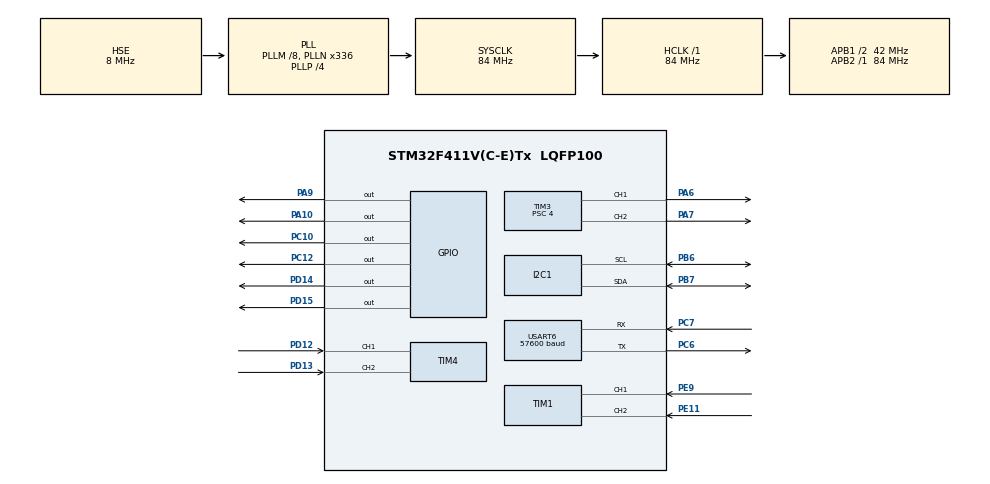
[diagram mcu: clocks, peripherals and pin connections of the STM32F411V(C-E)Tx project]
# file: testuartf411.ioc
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Dma.Request0=USART6_RX
Dma.Request1=USART6_TX
Dma.USART6_RX.0.Direction=DMA_PERIPH_TO_MEMORY
Dma.USART6_RX.0.FIFOMode=DMA_FIFOMODE_DISABLE
Dma.USART6_RX.0.Instance=DMA2_Stream1
Dma.USART6_RX.0.MemDataAlignment=DMA_MDATAALIGN_BYTE
Dma.USART6_RX.0.MemInc=DMA_MINC_ENABLE
Dma.USART6_RX.0.Mode=DMA_CIRCULAR
Dma.USART6_RX.0.PeriphDataAlignment=DMA_PDATAALIGN_BYTE
Dma.USART6_RX.0.PeriphInc=DMA_PINC_DISABLE
Dma.USART6_RX.0.Priority=DMA_PRIORITY_LOW
Dma.USART6_TX.1.Direction=DMA_MEMORY_TO_PERIPH
Dma.USART6_TX.1.FIFOMode=DMA_FIFOMODE_DISABLE
Dma.USART6_TX.1.Instance=DMA2_Stream6
Dma.USART6_TX.1.MemDataAlignment=DMA_MDATAALIGN_BYTE
Dma.USART6_TX.1.MemInc=DMA_MINC_ENABLE
Dma.USART6_TX.1.Mode=DMA_NORMAL
Dma.USART6_TX.1.PeriphDataAlignment=DMA_PDATAALIGN_BYTE
Dma.USART6_TX.1.PeriphInc=DMA_PINC_DISABLE
Dma.USART6_TX.1.Priority=DMA_PRIORITY_LOW
I2C1.I2C_Mode=I2C_Fast
Mcu.Family=STM32F4
Mcu.Name=STM32F411V(C-E)Tx
Mcu.Package=LQFP100
NVIC.DMA2_Stream1_IRQn=true\:0\:0\:false\:false\:true\:false\:true\:true
NVIC.DMA2_Stream6_IRQn=true\:0\:0\:false\:false\:true\:false\:true\:true
NVIC.PriorityGroup=NVIC_PRIORITYGROUP_4
NVIC.TIM2_IRQn=true\:1\:0\:true\:false\:true\:true\:true\:true
NVIC.USART6_IRQn=true\:0\:0\:false\:false\:true\:true\:true\:true
PA10.Signal=GPIO_Output
PA13.Mode=Serial_Wire
PA13.Signal=SYS_JTMS-SWDIO
PA14.Mode=Serial_Wire
PA14.Signal=SYS_JTCK-SWCLK
PA6.Signal=S_TIM3_CH1
PA7.Signal=S_TIM3_CH2
PA9.Signal=GPIO_Output
PB6.GPIO_Pu=GPIO_PULLUP
PB6.Mode=I2C
PB6.Signal=I2C1_SCL
PB7.GPIO_Pu=GPIO_PULLUP
PB7.Mode=I2C
PB7.Signal=I2C1_SDA
PC10.Signal=GPIO_Output
PC12.Signal=GPIO_Output
PC6.Mode=Asynchronous
PC6.Signal=USART6_TX
PC7.Mode=Asynchronous
PC7.Signal=USART6_RX
PD12.Signal=S_TIM4_CH1
PD13.Signal=S_TIM4_CH2
PD14.Signal=GPIO_Output
PD15.Signal=GPIO_Output
PE11.Signal=S_TIM1_CH2
PE9.Signal=S_TIM1_CH1
PH0\ -\ OSC_IN.Mode=HSE-External-Oscillator
PH0\ -\ OSC_IN.Signal=RCC_OSC_IN
PH1\ -\ OSC_OUT.Mode=HSE-External-Oscillator
PH1\ -\ OSC_OUT.Signal=RCC_OSC_OUT
ProjectManager.HeapSize=0x200
ProjectManager.StackSize=0x400
ProjectManager.TargetToolchain=STM32CubeIDE
RCC.48MHZClocksFreq_Value=84000000
RCC.AHBFreq_Value=84000000
RCC.APB1CLKDivider=RCC_HCLK_DIV2
RCC.APB1Freq_Value=42000000
RCC.APB1TimFreq_Value=84000000
RCC.APB2Freq_Value=84000000
RCC.APB2TimFreq_Value=84000000
RCC.CortexFreq_Value=84000000
RCC.HCLKFreq_Value=84000000
RCC.HSE_VALUE=8000000
RCC.HSI_VALUE=16000000
RCC.LSE_VALUE=32768
RCC.PLLM=8
RCC.PLLN=336
RCC.PLLP=RCC_PLLP_DIV4
RCC.PLLSourceVirtual=RCC_PLLSOURCE_HSE
RCC.SYSCLKFreq_VALUE=84000000
RCC.SYSCLKSource=RCC_SYSCLKSOURCE_PLLCLK
RCC.VCOOutputFreq_Value=336000000
SH.S_TIM1_CH1.0=TIM1_CH1,Encoder_Interface
SH.S_TIM1_CH2.0=TIM1_CH2,Encoder_Interface
SH.S_TIM3_CH1.0=TIM3_CH1,PWM Generation1 CH1
SH.S_TIM3_CH2.0=TIM3_CH2,PWM Generation2 CH2
SH.S_TIM4_CH1.0=TIM4_CH1,Encoder_Interface
SH.S_TIM4_CH2.0=TIM4_CH2,Encoder_Interface
TIM1.EncoderMode=TIM_ENCODERMODE_TI12
TIM2.Period=499
TIM2.Prescaler=8399
TIM3.Channel-PWM\ Generation1\ CH1=TIM_CHANNEL_1
TIM3.Channel-PWM\ Generation2\ CH2=TIM_CHANNEL_2
TIM3.Period=839
TIM3.Prescaler=4
TIM4.EncoderMode=TIM_ENCODERMODE_TI12
USART6.BaudRate=57600
USART6.VirtualMode=VM_ASYNC
VP_TIM2_VS_ClockSourceINT.Mode=Internal
board=custom

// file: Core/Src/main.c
/* USER CODE BEGIN Header */
/**
  ******************************************************************************
  * @file           : main.c
  * @brief          : Main program body
  ******************************************************************************
  * @attention
  *
  * Copyright (c) 2024 STMicroelectronics.
  * All rights reserved.
  *
  * This software is licensed under terms that can be found in the LICENSE file
  * in the root directory of this software component.
  * If no LICENSE file comes with this software, it is provided AS-IS.
  *
  ******************************************************************************
  */
/* USER CODE END Header */
#include "main.h"

/* USER CODE BEGIN Includes */
#include "mainpp.h"
#include "data_struct.h"
#include "imu_data_struct.h"
//#include "structor.h"
#include <math.h>
#include "stm32f4xx_hal.h"
#include "defines.h"
#include "tm_stm32_mpu6050.h"
#include <stdio.h>
/* USER CODE END Includes */

I2C_HandleTypeDef hi2c1;

TIM_HandleTypeDef htim1;
TIM_HandleTypeDef htim2;
TIM_HandleTypeDef htim3;
TIM_HandleTypeDef htim4;

UART_HandleTypeDef huart6;
DMA_HandleTypeDef hdma_usart6_rx;
DMA_HandleTypeDef hdma_usart6_tx;

/* USER CODE BEGIN PV */

	float angle_z;
	float angle_x;
	float angle_y;
	const float RADIANS_TO_DEGREES = 57.2958; //180/3.14159

    volatile int16_t Accel_X_RAW, Accel_Y_RAW, Accel_Z_RAW, Gyro_X_RAW, Gyro_Y_RAW, Gyro_Z_RAW;
	volatile float Ax, Ay, Az, Gx, Gy,Gz;
	// rotation angle of the sensor
	unsigned long last_read_time;
	float         last_x_angle;  // These are the filtered angles
	float         last_y_angle;
	float         last_z_angle;
	float         last_gyro_x_angle;  // Store the gyro angles to compare drift
	float         last_gyro_y_angle;
	float         last_gyro_z_angle;

	float    	  base_x_gyro = 0;
	float         base_y_gyro = 0;
	float         base_z_gyro = 0;
	float         base_x_accel = 0;
	float         base_y_accel = 0;
	float         base_z_accel = 0;
    float         gyro_angle_z=0;

	// This global variable tells us how to scale gyroscope data
	float    GYRO_FACTOR=0;

	unsigned long t_now=0,t_last=0;
	float dt=0;
/* USER CODE END PV */

void SystemClock_Config(void);
static void MX_GPIO_Init(void);
static void MX_DMA_Init(void);
static void MX_USART6_UART_Init(void);
static void MX_I2C1_Init(void);
static void MX_TIM1_Init(void);
static void MX_TIM2_Init(void);
static void MX_TIM3_Init(void);
static void MX_TIM4_Init(void);
/* USER CODE BEGIN PFP */

//Right
float PPR1 = 1675;//=920x4/ 1070;pulse per revolution
const float Ts = 0.05;
float encoder_cnt1=0, pre_enc1=0;
float delta_enc1 = 0;

float vR_set=0,vR_set_dot=0, pre_vR_set=0, vR_real=0, vR_real_dot=0, pre_vR_real=0;
float duty_cycle1=0;
float Error1=0, pre_Error1=0, Error1_dot=0;
float Kp=50,muy1=0, sign1=0;//0.9, 50
float Ki=50;//30, 850
float u_eq=0, u_w=0,u_d=0;
float udk1=0;
const float wheelRadius= 0.0765;//0.0725
const float wheelBase=0.455;
const float pi=3.14159265359;
float S1=0, S1_dot=0, Beta=25, K1=35, a=0;
float gama=0, gama_dot=0;

//Left
float PPR2 = 1675;//=920x4/ 1070;pulse per revolution

float encoder_cnt2=0, pre_enc2=0;
float delta_enc2 = 0;

float vL_set=0,vL_set_dot=0, pre_vL_set=0, vL_real=0, vL_real_dot=0, pre_vL_real=0;
float duty_cycle2=0;
float Error2=0, pre_Error2=0, Error2_dot=0;
float Kp2=50,muy2=0, sign2=0;//0.9, 50
float Ki2=50;//30, 850
float u_eq2=0, u_w2=0,u_d2=0;
float udk2=0;

float S2=0, S2_dot=0, Beta2=25, K2=35, a2=0;
float gama2=0, gama2_dot=0;

struct vel_data vel_data_rx;
struct vel_data vel_data_tx;
/* USER CODE END PFP */

/* USER CODE BEGIN 0 */
//uint8_t tbuff[]="abc123";

#define MPU9250_ADDR 0xD0

#define SMPLRT_DIV_REG 0x68
#define GYRO_CONF_REG 0x1B
#define ACCEL_CONF_REG 0x1C
#define ACCEL_XOUT_H_REG 0x3B
#define TEMP_OUT_H_REG 0x41
#define GYRO_XOUT_H_REG 0x43
#define PWR_MGMT_1_REG 0x6B
#define WHO_AM_I_REG 0x75
void MPU9250_Init (void)
{
		uint8_t data;
		data=0;
		HAL_I2C_Mem_Write(&hi2c1,MPU9250_ADDR,PWR_MGMT_1_REG,I2C_MEMADD_SIZE_8BIT,&data,1,HAL_MAX_DELAY);

		data=0x07;
		HAL_I2C_Mem_Write(&hi2c1,MPU9250_ADDR,SMPLRT_DIV_REG,I2C_MEMADD_SIZE_8BIT,&data,1,HAL_MAX_DELAY);

		data=0x00;
		HAL_I2C_Mem_Write(&hi2c1,MPU9250_ADDR,ACCEL_CONF_REG,I2C_MEMADD_SIZE_8BIT,&data,1,HAL_MAX_DELAY);

		data=0x00;
		HAL_I2C_Mem_Write(&hi2c1,MPU9250_ADDR,GYRO_CONF_REG,I2C_MEMADD_SIZE_8BIT,&data,1,HAL_MAX_DELAY);

}

void MPU9250_Read_Accel(void)
{
	uint8_t Rec_data[6];
	HAL_I2C_Mem_Read(&hi2c1,MPU9250_ADDR,ACCEL_XOUT_H_REG,1,Rec_data,6,1000);

	int16_t Accel_X_RAW = (int16_t)(Rec_data[0] <<8 | Rec_data[1]);
	int16_t Accel_Y_RAW = (int16_t)(Rec_data[2] <<8 | Rec_data[3]);
	int16_t Accel_Z_RAW = (int16_t)(Rec_data[4] <<8 | Rec_data[5]);

	Ax=Accel_X_RAW/16384.0;
	Ay=Accel_Y_RAW/16384.0;
	Az=Accel_Z_RAW/16384.0;
}

void MPU9250_Read_Gyro(void)
{
	uint8_t Rec_data[6];
	HAL_I2C_Mem_Read(&hi2c1,MPU9250_ADDR,GYRO_XOUT_H_REG,1,Rec_data,6,1000);

	Gyro_X_RAW = (int16_t)(Rec_data[0] <<8 | Rec_data[1]);
	Gyro_Y_RAW = (int16_t)(Rec_data[2] <<8 | Rec_data[3]);
	Gyro_Z_RAW = (int16_t)(Rec_data[4] <<8 | Rec_data[5]);

	Gx=Gyro_X_RAW/131.0;
	Gy=Gyro_Y_RAW/131.0;
	Gz=Gyro_Z_RAW/131.0;
}

void set_last_read_angle_data(unsigned long time, float x, float y, float z, float x_gyro, float y_gyro, float z_gyro) {
  last_read_time = time;
  last_x_angle = x;
  last_y_angle = y;
  last_z_angle = z;
  last_gyro_x_angle = x_gyro;
  last_gyro_y_angle = y_gyro;
  last_gyro_z_angle = z_gyro;
}

unsigned long get_last_time() {return last_read_time;}
float get_last_x_angle() {return last_x_angle;}
float get_last_y_angle() {return last_y_angle;}
float get_last_z_angle() {return last_z_angle;}
float get_last_gyro_x_angle() {return last_gyro_x_angle;}
float get_last_gyro_y_angle() {return last_gyro_y_angle;}
float get_last_gyro_z_angle() {return last_gyro_z_angle;}
/* USER CODE END 0 */

int main(void)
{

  /* MCU Configuration--------------------------------------------------------*/

  /* Reset of all peripherals, Initializes the Flash interface and the Systick. */
  HAL_Init();

  /* Configure the system clock */
  SystemClock_Config();

  /* Initialize all configured peripherals */
  MX_GPIO_Init();
  MX_DMA_Init();
  MX_USART6_UART_Init();
  MX_I2C1_Init();
  MX_TIM1_Init();
  MX_TIM2_Init();
  MX_TIM3_Init();
  MX_TIM4_Init();
  /* USER CODE BEGIN 2 */
  	HAL_TIM_Base_Start_IT(&htim2);
    HAL_TIM_Encoder_Start(&htim1, TIM_CHANNEL_1|TIM_CHANNEL_2);
    HAL_TIM_Encoder_Start(&htim4, TIM_CHANNEL_1|TIM_CHANNEL_2);
    HAL_TIM_PWM_Start(&htim3, TIM_CHANNEL_1);
    HAL_TIM_PWM_Start(&htim3, TIM_CHANNEL_2);
  	  setup();

  	  // get_mpudata_average();

  	     set_last_read_angle_data( 0, 0, 0, 0, 0, 0, 0);

  	   // HAL_Delay(5000);

  /* USER CODE END 2 */

  /* Infinite loop */
  while (1)
  {

    /* USER CODE BEGIN 3 */
//	  HAL_Delay(1000);
//	  HAL_UART_Transmit(&huart6, tbuff, sizeof(tbuff), 100);

	  HAL_Delay(1000);
	  loop();

  }
  /* USER CODE END 3 */
}

void SystemClock_Config(void)
{
  RCC_OscInitTypeDef RCC_OscInitStruct = {0};
  RCC_ClkInitTypeDef RCC_ClkInitStruct = {0};

  /** Configure the main internal regulator output voltage
  */
  __HAL_RCC_PWR_CLK_ENABLE();
  __HAL_PWR_VOLTAGESCALING_CONFIG(PWR_REGULATOR_VOLTAGE_SCALE1);

  /** Initializes the RCC Oscillators according to the specified parameters
  * in the RCC_OscInitTypeDef structure.
  */
  RCC_OscInitStruct.OscillatorType = RCC_OSCILLATORTYPE_HSE;
  RCC_OscInitStruct.HSEState = RCC_HSE_ON;
  RCC_OscInitStruct.PLL.PLLState = RCC_PLL_ON;
  RCC_OscInitStruct.PLL.PLLSource = RCC_PLLSOURCE_HSE;
  RCC_OscInitStruct.PLL.PLLM = 8;
  RCC_OscInitStruct.PLL.PLLN = 336;
  RCC_OscInitStruct.PLL.PLLP = RCC_PLLP_DIV4;
  RCC_OscInitStruct.PLL.PLLQ = 4;
  if (HAL_RCC_OscConfig(&RCC_OscInitStruct) != HAL_OK)
  {
    Error_Handler();
  }

  /** Initializes the CPU, AHB and APB buses clocks
  */
  RCC_ClkInitStruct.ClockType = RCC_CLOCKTYPE_HCLK|RCC_CLOCKTYPE_SYSCLK
                              |RCC_CLOCKTYPE_PCLK1|RCC_CLOCKTYPE_PCLK2;
  RCC_ClkInitStruct.SYSCLKSource = RCC_SYSCLKSOURCE_PLLCLK;
  RCC_ClkInitStruct.AHBCLKDivider = RCC_SYSCLK_DIV1;
  RCC_ClkInitStruct.APB1CLKDivider = RCC_HCLK_DIV2;
  RCC_ClkInitStruct.APB2CLKDivider = RCC_HCLK_DIV1;

  if (HAL_RCC_ClockConfig(&RCC_ClkInitStruct, FLASH_LATENCY_2) != HAL_OK)
  {
    Error_Handler();
  }
}

static void MX_I2C1_Init(void)
{

  hi2c1.Instance = I2C1;
  hi2c1.Init.ClockSpeed = 400000;
  hi2c1.Init.DutyCycle = I2C_DUTYCYCLE_2;
  hi2c1.Init.OwnAddress1 = 0;
  hi2c1.Init.AddressingMode = I2C_ADDRESSINGMODE_7BIT;
  hi2c1.Init.DualAddressMode = I2C_DUALADDRESS_DISABLE;
  hi2c1.Init.OwnAddress2 = 0;
  hi2c1.Init.GeneralCallMode = I2C_GENERALCALL_DISABLE;
  hi2c1.Init.NoStretchMode = I2C_NOSTRETCH_DISABLE;
  if (HAL_I2C_Init(&hi2c1) != HAL_OK)
  {
    Error_Handler();
  }

}

static void MX_TIM1_Init(void)
{

  TIM_Encoder_InitTypeDef sConfig = {0};
  TIM_MasterConfigTypeDef sMasterConfig = {0};

  htim1.Instance = TIM1;
  htim1.Init.Prescaler = 0;
  htim1.Init.CounterMode = TIM_COUNTERMODE_UP;
  htim1.Init.Period = 65535;
  htim1.Init.ClockDivision = TIM_CLOCKDIVISION_DIV1;
  htim1.Init.RepetitionCounter = 0;
  htim1.Init.AutoReloadPreload = TIM_AUTORELOAD_PRELOAD_DISABLE;
  sConfig.EncoderMode = TIM_ENCODERMODE_TI12;
  sConfig.IC1Polarity = TIM_ICPOLARITY_RISING;
  sConfig.IC1Selection = TIM_ICSELECTION_DIRECTTI;
  sConfig.IC1Prescaler = TIM_ICPSC_DIV1;
  sConfig.IC1Filter = 0;
  sConfig.IC2Polarity = TIM_ICPOLARITY_RISING;
  sConfig.IC2Selection = TIM_ICSELECTION_DIRECTTI;
  sConfig.IC2Prescaler = TIM_ICPSC_DIV1;
  sConfig.IC2Filter = 0;
  if (HAL_TIM_Encoder_Init(&htim1, &sConfig) != HAL_OK)
  {
    Error_Handler();
  }
  sMasterConfig.MasterOutputTrigger = TIM_TRGO_RESET;
  sMasterConfig.MasterSlaveMode = TIM_MASTERSLAVEMODE_DISABLE;
  if (HAL_TIMEx_MasterConfigSynchronization(&htim1, &sMasterConfig) != HAL_OK)
  {
    Error_Handler();
  }

}

static void MX_TIM2_Init(void)
{

  TIM_ClockConfigTypeDef sClockSourceConfig = {0};
  TIM_MasterConfigTypeDef sMasterConfig = {0};

  htim2.Instance = TIM2;
  htim2.Init.Prescaler = 8399;
  htim2.Init.CounterMode = TIM_COUNTERMODE_UP;
  htim2.Init.Period = 499;
  htim2.Init.ClockDivision = TIM_CLOCKDIVISION_DIV1;
  htim2.Init.AutoReloadPreload = TIM_AUTORELOAD_PRELOAD_DISABLE;
  if (HAL_TIM_Base_Init(&htim2) != HAL_OK)
  {
    Error_Handler();
  }
  sClockSourceConfig.ClockSource = TIM_CLOCKSOURCE_INTERNAL;
  if (HAL_TIM_ConfigClockSource(&htim2, &sClockSourceConfig) != HAL_OK)
  {
    Error_Handler();
  }
  sMasterConfig.MasterOutputTrigger = TIM_TRGO_RESET;
  sMasterConfig.MasterSlaveMode = TIM_MASTERSLAVEMODE_DISABLE;
  if (HAL_TIMEx_MasterConfigSynchronization(&htim2, &sMasterConfig) != HAL_OK)
  {
    Error_Handler();
  }

}

static void MX_TIM3_Init(void)
{

  TIM_MasterConfigTypeDef sMasterConfig = {0};
  TIM_OC_InitTypeDef sConfigOC = {0};

  htim3.Instance = TIM3;
  htim3.Init.Prescaler = 4;
  htim3.Init.CounterMode = TIM_COUNTERMODE_UP;
  htim3.Init.Period = 839;
  htim3.Init.ClockDivision = TIM_CLOCKDIVISION_DIV1;
  htim3.Init.AutoReloadPreload = TIM_AUTORELOAD_PRELOAD_DISABLE;
  if (HAL_TIM_PWM_Init(&htim3) != HAL_OK)
  {
    Error_Handler();
  }
  sMasterConfig.MasterOutputTrigger = TIM_TRGO_RESET;
  sMasterConfig.MasterSlaveMode = TIM_MASTERSLAVEMODE_DISABLE;
  if (HAL_TIMEx_MasterConfigSynchronization(&htim3, &sMasterConfig) != HAL_OK)
  {
    Error_Handler();
  }
  sConfigOC.OCMode = TIM_OCMODE_PWM1;
  sConfigOC.Pulse = 0;
  sConfigOC.OCPolarity = TIM_OCPOLARITY_HIGH;
  sConfigOC.OCFastMode = TIM_OCFAST_DISABLE;
  if (HAL_TIM_PWM_ConfigChannel(&htim3, &sConfigOC, TIM_CHANNEL_1) != HAL_OK)
  {
    Error_Handler();
  }
  if (HAL_TIM_PWM_ConfigChannel(&htim3, &sConfigOC, TIM_CHANNEL_2) != HAL_OK)
  {
    Error_Handler();
  }
  HAL_TIM_MspPostInit(&htim3);

}

static void MX_TIM4_Init(void)
{

  TIM_Encoder_InitTypeDef sConfig = {0};
  TIM_MasterConfigTypeDef sMasterConfig = {0};

  htim4.Instance = TIM4;
  htim4.Init.Prescaler = 0;
  htim4.Init.CounterMode = TIM_COUNTERMODE_UP;
  htim4.Init.Period = 65535;
  htim4.Init.ClockDivision = TIM_CLOCKDIVISION_DIV1;
  htim4.Init.AutoReloadPreload = TIM_AUTORELOAD_PRELOAD_DISABLE;
  sConfig.EncoderMode = TIM_ENCODERMODE_TI12;
  sConfig.IC1Polarity = TIM_ICPOLARITY_RISING;
  sConfig.IC1Selection = TIM_ICSELECTION_DIRECTTI;
  sConfig.IC1Prescaler = TIM_ICPSC_DIV1;
  sConfig.IC1Filter = 0;
  sConfig.IC2Polarity = TIM_ICPOLARITY_RISING;
  sConfig.IC2Selection = TIM_ICSELECTION_DIRECTTI;
  sConfig.IC2Prescaler = TIM_ICPSC_DIV1;
  sConfig.IC2Filter = 0;
  if (HAL_TIM_Encoder_Init(&htim4, &sConfig) != HAL_OK)
  {
    Error_Handler();
  }
  sMasterConfig.MasterOutputTrigger = TIM_TRGO_RESET;
  sMasterConfig.MasterSlaveMode = TIM_MASTERSLAVEMODE_DISABLE;
  if (HAL_TIMEx_MasterConfigSynchronization(&htim4, &sMasterConfig) != HAL_OK)
  {
    Error_Handler();
  }

}

static void MX_USART6_UART_Init(void)
{

  huart6.Instance = USART6;
  huart6.Init.BaudRate = 57600;
  huart6.Init.WordLength = UART_WORDLENGTH_8B;
  huart6.Init.StopBits = UART_STOPBITS_1;
  huart6.Init.Parity = UART_PARITY_NONE;
  huart6.Init.Mode = UART_MODE_TX_RX;
  huart6.Init.HwFlowCtl = UART_HWCONTROL_NONE;
  huart6.Init.OverSampling = UART_OVERSAMPLING_16;
  if (HAL_UART_Init(&huart6) != HAL_OK)
  {
    Error_Handler();
  }

}

static void MX_DMA_Init(void)
{

  /* DMA controller clock enable */
  __HAL_RCC_DMA2_CLK_ENABLE();

  /* DMA interrupt init */
  /* DMA2_Stream1_IRQn interrupt configuration */
  HAL_NVIC_SetPriority(DMA2_Stream1_IRQn, 0, 0);
  HAL_NVIC_EnableIRQ(DMA2_Stream1_IRQn);
  /* DMA2_Stream6_IRQn interrupt configuration */
  HAL_NVIC_SetPriority(DMA2_Stream6_IRQn, 0, 0);
  HAL_NVIC_EnableIRQ(DMA2_Stream6_IRQn);

}

static void MX_GPIO_Init(void)
{
  GPIO_InitTypeDef GPIO_InitStruct = {0};

  /* GPIO Ports Clock Enable */
  __HAL_RCC_GPIOH_CLK_ENABLE();
  __HAL_RCC_GPIOA_CLK_ENABLE();
  __HAL_RCC_GPIOE_CLK_ENABLE();
  __HAL_RCC_GPIOD_CLK_ENABLE();
  __HAL_RCC_GPIOC_CLK_ENABLE();
  __HAL_RCC_GPIOB_CLK_ENABLE();

  /*Configure GPIO pin Output Level */
  HAL_GPIO_WritePin(GPIOD, GPIO_PIN_14|GPIO_PIN_15, GPIO_PIN_RESET);

  /*Configure GPIO pin Output Level */
  HAL_GPIO_WritePin(GPIOA, GPIO_PIN_9|GPIO_PIN_10, GPIO_PIN_RESET);

  /*Configure GPIO pin Output Level */
  HAL_GPIO_WritePin(GPIOC, GPIO_PIN_10|GPIO_PIN_12, GPIO_PIN_RESET);

  /*Configure GPIO pins : PD14 PD15 */
  GPIO_InitStruct.Pin = GPIO_PIN_14|GPIO_PIN_15;
  GPIO_InitStruct.Mode = GPIO_MODE_OUTPUT_PP;
  GPIO_InitStruct.Pull = GPIO_NOPULL;
  GPIO_InitStruct.Speed = GPIO_SPEED_FREQ_LOW;
  HAL_GPIO_Init(GPIOD, &GPIO_InitStruct);

  /*Configure GPIO pins : PA9 PA10 */
  GPIO_InitStruct.Pin = GPIO_PIN_9|GPIO_PIN_10;
  GPIO_InitStruct.Mode = GPIO_MODE_OUTPUT_PP;
  GPIO_InitStruct.Pull = GPIO_NOPULL;
  GPIO_InitStruct.Speed = GPIO_SPEED_FREQ_LOW;
  HAL_GPIO_Init(GPIOA, &GPIO_InitStruct);

  /*Configure GPIO pins : PC10 PC12 */
  GPIO_InitStruct.Pin = GPIO_PIN_10|GPIO_PIN_12;
  GPIO_InitStruct.Mode = GPIO_MODE_OUTPUT_PP;
  GPIO_InitStruct.Pull = GPIO_NOPULL;
  GPIO_InitStruct.Speed = GPIO_SPEED_FREQ_LOW;
  HAL_GPIO_Init(GPIOC, &GPIO_InitStruct);

}

/* USER CODE BEGIN 4 */
void PID_Calculate1(){

				encoder_cnt1=__HAL_TIM_GET_COUNTER(&htim1);
				delta_enc1=encoder_cnt1-pre_enc1;

				if(delta_enc1>32768){
					delta_enc1 -= 65536;
				}
				else if(delta_enc1<-32768){
					delta_enc1 += 65536;
				}

				 vR_real=((delta_enc1/PPR1)/Ts)*(2*pi*wheelRadius);
				 vR_real_dot= (vR_real-pre_vR_real)/Ts;
				 vR_set_dot=(vR_set-pre_vR_set)/Ts;

				 Error1=vR_set-vR_real;
				 Error1_dot=(Error1-pre_Error1)/Ts;
				 pre_enc1=encoder_cnt1;
				 pre_vR_real=vR_real;
				 pre_vR_set=vR_set;
				 pre_Error1=Error1;

				 //Sliding Mode
				 S1_dot= Error1_dot+Beta*Error1;
				 S1+= S1_dot*Ts;

				 //Adative
				 gama_dot=-a*S1*(vR_real_dot+Beta*Error1);
				 gama+= gama_dot*Ts;

				 if(S1>=5)
				 {
					 muy1= Kp*fabs(S1);
				 }
				 else if(S1<5)
				 {
					 muy1=Ki*fabs(S1);
				 }

				 if(S1>0)
				 {
					 sign1=1;
				 }
				 else if(S1==0)
				 {
					 sign1=0;
				 }
				 else
				 {
					 sign1=-1;
				 }

				 u_eq=gama*(vR_real_dot+Beta*Error1);
				 u_w=K1*S1;
				 u_d=muy1*sign1;
				 udk1 = u_eq + u_w + u_d ;

		}
void PID_Calculate2(){

				encoder_cnt2=__HAL_TIM_GET_COUNTER(&htim4);
				delta_enc2=encoder_cnt2-pre_enc2;

				if(delta_enc2>32768){
					delta_enc2 -= 65536;
				}
				else if(delta_enc2<-32768){
					delta_enc2 += 65536;
				}

				 vL_real=((delta_enc2/PPR2)/Ts)*(2*pi*wheelRadius);
				 vL_real_dot= (vL_real-pre_vL_real)/Ts;
				 vL_set_dot=(vL_set-pre_vL_set)/Ts;

				 Error2=vL_set-vL_real;
				 Error2_dot=(Error2-pre_Error2)/Ts;
				 pre_enc2=encoder_cnt2;
				 pre_vL_real=vL_real;
				 pre_vL_set=vL_set;
				 pre_Error2=Error2;

				 //Sliding Mode
				 S2_dot= Error2_dot+Beta2*Error2;
				 S2+= S2_dot*Ts;

				 //Adative
				 gama2_dot=-a2*S1*(vL_real_dot+Beta2*Error2);
				 gama2+= gama2_dot*Ts;

				 if(S2>=5)
				 {
					 muy2= Kp2*fabs(S2);
				 }
				 else if(S2<5)
				 {
					 muy2=Ki2*fabs(S2);
				 }

				 if(S2>0)
				 {
					 sign2=1;
				 }
				 else if(S1==0)
				 {
					 sign2=0;
				 }
				 else
				 {
					 sign2=-1;
				 }

				 u_eq2=gama*(vL_real_dot+Beta2*Error2);
				 u_w2=K2*S2;
				 u_d2=muy1*sign1;
				 udk2 = u_eq2 + u_w2 + u_d2 ;

		}
	void PWM_Calculate1()
		{
			if(udk1>1000){
				udk1=500;

			}
			else if (udk1<-1000){
				udk1=-500;

			}

			if(udk1==0){
				HAL_GPIO_WritePin(GPIOA, GPIO_PIN_9, GPIO_PIN_RESET);
				HAL_GPIO_WritePin(GPIOA,  GPIO_PIN_10, GPIO_PIN_RESET);

			}
			else if(udk1>0){
				HAL_GPIO_WritePin(GPIOA, GPIO_PIN_9, GPIO_PIN_RESET);
				HAL_GPIO_WritePin(GPIOA,  GPIO_PIN_10, GPIO_PIN_SET);

				duty_cycle1=udk1;
			}

			else{
				HAL_GPIO_WritePin(GPIOA, GPIO_PIN_9, GPIO_PIN_SET);
				HAL_GPIO_WritePin(GPIOA,  GPIO_PIN_10, GPIO_PIN_RESET);

				duty_cycle1=-udk1;

			}

			__HAL_TIM_SET_COMPARE(&htim3,TIM_CHANNEL_1,duty_cycle1);

		}
	void PWM_Calculate2()
				{

					if(udk2>1000){

						udk2=500;
					}
					else if (udk2<-1000){

						udk2=-500;
					}

					if(udk2==0){

						HAL_GPIO_WritePin(GPIOC, GPIO_PIN_10, GPIO_PIN_RESET);
						HAL_GPIO_WritePin(GPIOC,  GPIO_PIN_12, GPIO_PIN_RESET);
								}
					else if(udk2>0){

						HAL_GPIO_WritePin(GPIOC, GPIO_PIN_10, GPIO_PIN_RESET);
						HAL_GPIO_WritePin(GPIOC,  GPIO_PIN_12, GPIO_PIN_SET);

						duty_cycle2=udk2;

							}
					else{

						HAL_GPIO_WritePin(GPIOC, GPIO_PIN_10, GPIO_PIN_SET);
						HAL_GPIO_WritePin(GPIOC,  GPIO_PIN_12, GPIO_PIN_RESET);

						duty_cycle2=-udk2;
					}

					__HAL_TIM_SET_COMPARE(&htim3,TIM_CHANNEL_2,duty_cycle2);
				}

	void read_Imu(){
		//HAL_Delay(200);

			  	 t_last = HAL_GetTick();
			  	  MPU9250_Read_Accel();
			  	  MPU9250_Read_Gyro();

			  	 t_now = HAL_GetTick();

			  	  float gyro_x = Gx;
			  	  float gyro_y = Gy;
			  	  float gyro_z = Gz;

			  	  float accel_x = Ax; // - base_x_accel;
			  	  float accel_y = Ay; // - base_y_accel;
			  	  float accel_z = Az; // - base_z_accel;

			  	  float accel_angle_y = atan(-1*accel_x/sqrt(pow(accel_y,2) + pow(accel_z,2)))*RADIANS_TO_DEGREES;
			        float accel_angle_x = atan(accel_y/sqrt(pow(accel_x,2) + pow(accel_z,2)))*RADIANS_TO_DEGREES;
			  	  float accel_angle_z = 0;  //Accelerometer doesn't give z-angle

			  	  // Compute the (filtered) gyro angles
			  	  dt =(t_now - get_last_time())/1000.0;

			  	  float gyro_angle_x = gyro_x*dt + get_last_x_angle();
			  	  float gyro_angle_y = gyro_y*dt + get_last_y_angle();

			  	  int gz_threshold = 2; // gyro z raw data fluctuation threshold value when gyro doesn't move. It is up to your mpu6050. It is just a personal approach.
			  	  if(gyro_z < gz_threshold && gyro_z > -gz_threshold) // When gyro stands ignore the gyro z small fluctuations to prevent z angle irregular increments
			  		  gyro_z = 0;

			  	  gyro_angle_z = gyro_z*dt + get_last_z_angle();

			  	// Compute the drifting gyro angles
			  	float unfiltered_gyro_angle_x = gyro_x*dt + get_last_gyro_x_angle();
			      float unfiltered_gyro_angle_y = gyro_y*dt + get_last_gyro_y_angle();
			      float unfiltered_gyro_angle_z = gyro_z*dt + get_last_gyro_z_angle();

			      // Apply the complementary filter to figure out the change in angle - choice of alpha is
			  	/* estimated now.  Alpha depends on the sampling rate... */
			      const float alpha = 0.96;
			      angle_x = alpha*gyro_angle_x + (1.0 - alpha)*accel_angle_x;
			  	float angle_y = alpha*gyro_angle_y + (1.0 - alpha)*accel_angle_y;
			      angle_z = gyro_angle_z;  //Accelerometer doesn't give z-angle

			  	/* Update the saved data with the latest values */
			  set_last_read_angle_data(t_now, angle_x, angle_y, angle_z, unfiltered_gyro_angle_x, unfiltered_gyro_angle_y, unfiltered_gyro_angle_z);

	}

	void HAL_TIM_PeriodElapsedCallback(TIM_HandleTypeDef *htim){
		if(htim->Instance==htim2.Instance){
			  //setSpeed= vel_data_rx.v;
			HAL_GPIO_TogglePin(GPIOD, GPIO_PIN_14);

			vR_set=vel_data_rx.v + vel_data_rx.w*wheelBase/2;//dong hoc nguoc
			vL_set=vel_data_rx.v - vel_data_rx.w*wheelBase/2;

			PID_Calculate1();
			PWM_Calculate1();
			PID_Calculate2();
			PWM_Calculate2();
			read_Imu();

			vel_data_tx.v=(vR_real+vL_real)/2;  //dong hoc nguoc
			vel_data_tx.w=(vR_real-vL_real)/wheelBase;
//			imu_data_tx.x=angle_x;
//			imu_data_tx.y=angle_y;
			imu_data_tx.z=angle_z;

			}

	}
/* USER CODE END 4 */

void Error_Handler(void)
{
  __disable_irq();
  while (1)
  {
  }
}
